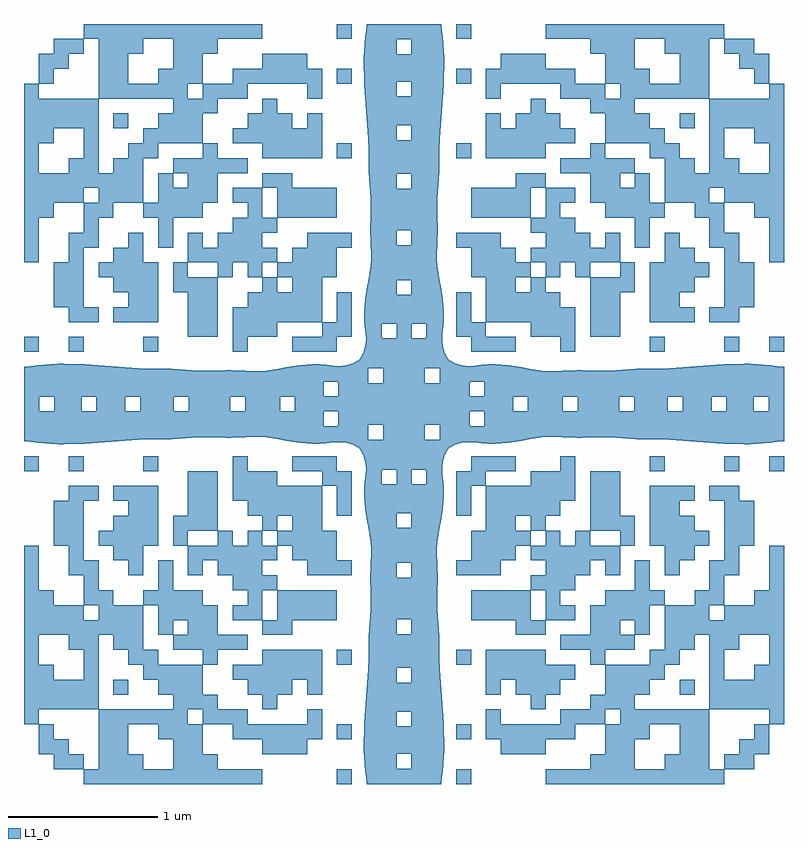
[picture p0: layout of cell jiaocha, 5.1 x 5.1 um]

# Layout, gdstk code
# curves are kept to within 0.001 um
import gdstk
lib = gdstk.Library(unit=1e-6, precision=1e-09)
def R(c, l, rs):  # rectangles x0, y0, x1, y1
    for r in rs: c.add(gdstk.rectangle(r[:2], r[2:], *l))
def P(c, l, *ps):  # polygons
    for p in ps: c.add(gdstk.Polygon(p, *l))
L1_0 = (1, 0)

jiaocha = lib.new_cell('jiaocha')
R(jiaocha, L1_0, [(0.433,-2.401,0.533,-2.301), (0.733,-2.401,1.033,-2.299), (1.233,-2.401,1.333,-2.301), (0.433,-2.101,0.533,-2.001), (1.233,-2.101,1.333,-2.001), (-1.067,-1.801,-0.967,-1.701), (2.733,-1.801,2.833,-1.701), (0.433,-1.601,0.533,-1.501), (1.233,-1.601,1.333,-1.501), (-1.667,-0.301,-1.567,-0.201), (-1.367,-0.301,-1.267,-0.201), (-0.867,-0.301,-0.767,-0.201), (2.533,-0.301,2.633,-0.201), (3.033,-0.301,3.133,-0.201), (3.333,-0.301,3.433,-0.201), (-1.667,-0.001,-1.565,0.299), (3.331,-0.001,3.433,0.299), (-1.667,0.499,-1.567,0.599), (-1.367,0.499,-1.267,0.599), (-0.867,0.499,-0.767,0.599), (2.533,0.499,2.633,0.599), (3.033,0.499,3.133,0.599), (3.333,0.499,3.433,0.599), (0.433,1.799,0.533,1.899), (1.233,1.799,1.333,1.899), (-1.067,1.999,-0.967,2.099), (2.733,1.999,2.833,2.099), (0.433,2.299,0.533,2.399), (1.233,2.299,1.333,2.399), (0.733,2.597,1.033,2.699), (0.433,2.599,0.533,2.699), (1.233,2.599,1.333,2.699)])
P(jiaocha, L1_0, [(-1.667,0.299),(-1.667,0.399),(-1.487,0.416),(-1.396,0.419),(-1.306,0.417),(-1.126,0.407),(-0.9,0.388),(-0.675,0.385),(-0.63,0.383),(-0.494,0.372),(-0.404,0.371),(-0.269,0.374),(-0.089,0.37),(-0.043,0.373),(0.002,0.379),(0.137,0.403),(0.227,0.414),(0.272,0.416),(0.317,0.415),(0.408,0.406),(0.453,0.404),(0.498,0.408),(0.543,0.423),(0.588,0.449),(0.633,0.478),(0.633,0.299)],
  [(0.633,0.149),(0.633,0.399),(0.644,0.388),(0.644,0.288),(0.744,0.288),(0.883,0.149)],
  [(0.343,-0.001),(0.343,0.001),(0.443,0.001),(0.443,0.101),(0.343,0.101),(0.343,0.201),(0.443,0.201),(0.443,0.298),(0.343,0.298),(0.343,0.299),(0.633,0.299),(0.633,-0.001)],
  [(0.051,-0.001),(0.051,0.099),(0.151,0.099),(0.151,0.199),(0.051,0.199),(0.051,0.299),(0.343,0.299),(0.343,-0.001)],
  [(-0.283,-0.001),(-0.283,0.099),(-0.183,0.099),(-0.183,0.199),(-0.283,0.199),(-0.283,0.299),(0.051,0.299),(0.051,-0.001)],
  [(-0.661,-0.001),(-0.661,0.099),(-0.561,0.099),(-0.561,0.199),(-0.661,0.199),(-0.661,0.299),(-0.283,0.299),(-0.283,-0.001)],
  [(-0.986,-0.001),(-0.986,0.099),(-0.886,0.099),(-0.886,0.199),(-0.986,0.199),(-0.986,0.299),(-0.661,0.299),(-0.661,-0.001)],
  [(-1.281,-0.001),(-1.281,0.099),(-1.181,0.099),(-1.181,0.199),(-1.281,0.199),(-1.281,0.299),(-0.986,0.299),(-0.986,-0.001)],
  [(-1.565,-0.001),(-1.565,0.099),(-1.465,0.099),(-1.465,0.199),(-1.565,0.199),(-1.565,0.299),(-1.281,0.299),(-1.281,-0.001)],
  [(0.633,-0.101),(0.633,0.149),(0.883,0.149),(0.744,0.01),(0.644,0.01),(0.644,-0.09)],
  [(0.633,-0.18),(0.588,-0.151),(0.543,-0.125),(0.498,-0.11),(0.453,-0.106),(0.408,-0.108),(0.317,-0.117),(0.272,-0.118),(0.227,-0.116),(0.137,-0.105),(0.002,-0.081),(-0.043,-0.075),(-0.089,-0.072),(-0.269,-0.076),(-0.404,-0.073),(-0.494,-0.074),(-0.63,-0.085),(-0.675,-0.087),(-0.9,-0.09),(-1.126,-0.109),(-1.306,-0.119),(-1.396,-0.121),(-1.487,-0.118),(-1.667,-0.101),(-1.667,-0.001),(0.633,-0.001)],
  [(0.883,0.149),(1.022,0.288),(1.122,0.288),(1.122,0.388),(1.133,0.399),(1.133,0.149)],
  [(1.133,-0.001),(1.133,0.299),(1.423,0.299),(1.423,0.298),(1.323,0.298),(1.323,0.201),(1.423,0.201),(1.423,0.101),(1.323,0.101),(1.323,0.001),(1.423,0.001),(1.423,-0.001)],
  [(1.423,-0.001),(1.423,0.299),(1.715,0.299),(1.715,0.199),(1.615,0.199),(1.615,0.099),(1.715,0.099),(1.715,-0.001)],
  [(1.715,-0.001),(1.715,0.299),(2.049,0.299),(2.049,0.199),(1.949,0.199),(1.949,0.099),(2.049,0.099),(2.049,-0.001)],
  [(2.049,-0.001),(2.049,0.299),(2.427,0.299),(2.427,0.199),(2.327,0.199),(2.327,0.099),(2.427,0.099),(2.427,-0.001)],
  [(2.427,-0.001),(2.427,0.299),(2.752,0.299),(2.752,0.199),(2.652,0.199),(2.652,0.099),(2.752,0.099),(2.752,-0.001)],
  [(2.752,-0.001),(2.752,0.299),(3.047,0.299),(3.047,0.199),(2.947,0.199),(2.947,0.099),(3.047,0.099),(3.047,-0.001)],
  [(3.047,-0.001),(3.047,0.299),(3.331,0.299),(3.331,0.199),(3.231,0.199),(3.231,0.099),(3.331,0.099),(3.331,-0.001)],
  [(1.133,-0.101),(1.122,-0.09),(1.122,0.01),(1.022,0.01),(0.883,0.149),(1.133,0.149)],
  [(1.133,-0.18),(1.133,-0.001),(3.433,-0.001),(3.433,-0.101),(3.253,-0.118),(3.162,-0.121),(3.072,-0.119),(2.892,-0.109),(2.666,-0.09),(2.441,-0.087),(2.396,-0.085),(2.26,-0.074),(2.17,-0.073),(2.035,-0.076),(1.855,-0.072),(1.809,-0.075),(1.764,-0.081),(1.629,-0.105),(1.539,-0.116),(1.494,-0.118),(1.449,-0.117),(1.358,-0.108),(1.313,-0.106),(1.268,-0.11),(1.223,-0.125),(1.178,-0.151)],
  [(1.033,0.399),(1.033,2.699),(1.133,2.699),(1.15,2.519),(1.153,2.428),(1.151,2.338),(1.144,2.203),(1.122,1.932),(1.119,1.707),(1.117,1.662),(1.106,1.526),(1.105,1.436),(1.108,1.301),(1.104,1.121),(1.107,1.075),(1.113,1.03),(1.137,0.895),(1.148,0.805),(1.15,0.76),(1.149,0.715),(1.14,0.624),(1.138,0.579),(1.142,0.534),(1.157,0.489),(1.183,0.444),(1.212,0.399)],
  [(0.883,0.149),(0.883,0.399),(1.133,0.399),(1.122,0.388),(1.022,0.388),(1.022,0.288)],
  [(0.733,0.399),(0.733,0.689),(0.735,0.689),(0.735,0.589),(0.835,0.589),(0.835,0.689),(0.935,0.689),(0.935,0.589),(1.032,0.589),(1.032,0.689),(1.033,0.689),(1.033,0.399)],
  [(0.733,0.689),(0.733,0.981),(0.833,0.981),(0.833,0.881),(0.933,0.881),(0.933,0.981),(1.033,0.981),(1.033,0.689)],
  [(0.733,0.981),(0.733,1.315),(0.833,1.315),(0.833,1.215),(0.933,1.215),(0.933,1.315),(1.033,1.315),(1.033,0.981)],
  [(0.733,1.315),(0.733,1.693),(0.833,1.693),(0.833,1.593),(0.933,1.593),(0.933,1.693),(1.033,1.693),(1.033,1.315)],
  [(0.733,1.693),(0.733,2.018),(0.833,2.018),(0.833,1.918),(0.933,1.918),(0.933,2.018),(1.033,2.018),(1.033,1.693)],
  [(0.733,2.018),(0.733,2.313),(0.833,2.313),(0.833,2.213),(0.933,2.213),(0.933,2.313),(1.033,2.313),(1.033,2.018)],
  [(0.733,2.313),(0.733,2.597),(0.833,2.597),(0.833,2.497),(0.933,2.497),(0.933,2.597),(1.033,2.597),(1.033,2.313)],
  [(0.883,0.149),(0.744,0.288),(0.744,0.388),(0.644,0.388),(0.633,0.399),(0.883,0.399)],
  [(0.554,0.399),(0.583,0.444),(0.609,0.489),(0.624,0.534),(0.628,0.579),(0.626,0.624),(0.617,0.715),(0.616,0.76),(0.618,0.805),(0.629,0.895),(0.653,1.03),(0.659,1.075),(0.662,1.121),(0.658,1.301),(0.661,1.436),(0.66,1.526),(0.649,1.662),(0.647,1.707),(0.644,1.932),(0.625,2.158),(0.615,2.338),(0.613,2.428),(0.616,2.519),(0.633,2.699),(0.733,2.699),(0.733,0.399)],
  [(1.033,-2.401),(1.033,-0.101),(1.212,-0.101),(1.183,-0.146),(1.157,-0.191),(1.142,-0.236),(1.138,-0.281),(1.14,-0.326),(1.149,-0.417),(1.15,-0.462),(1.148,-0.507),(1.137,-0.597),(1.113,-0.732),(1.107,-0.777),(1.104,-0.823),(1.108,-1.003),(1.105,-1.138),(1.106,-1.228),(1.117,-1.364),(1.119,-1.409),(1.122,-1.634),(1.141,-1.86),(1.151,-2.04),(1.153,-2.13),(1.15,-2.221),(1.133,-2.401)],
  [(0.883,-0.101),(0.883,0.149),(1.022,0.01),(1.022,-0.09),(1.122,-0.09),(1.133,-0.101)],
  [(0.733,-0.391),(0.733,-0.101),(1.033,-0.101),(1.033,-0.391),(1.032,-0.391),(1.032,-0.291),(0.935,-0.291),(0.935,-0.391),(0.835,-0.391),(0.835,-0.291),(0.735,-0.291),(0.735,-0.391)],
  [(0.733,-0.683),(0.733,-0.391),(1.033,-0.391),(1.033,-0.683),(0.933,-0.683),(0.933,-0.583),(0.833,-0.583),(0.833,-0.683)],
  [(0.733,-1.017),(0.733,-0.683),(1.033,-0.683),(1.033,-1.017),(0.933,-1.017),(0.933,-0.917),(0.833,-0.917),(0.833,-1.017)],
  [(0.733,-1.395),(0.733,-1.017),(1.033,-1.017),(1.033,-1.395),(0.933,-1.395),(0.933,-1.295),(0.833,-1.295),(0.833,-1.395)],
  [(0.733,-1.72),(0.733,-1.395),(1.033,-1.395),(1.033,-1.72),(0.933,-1.72),(0.933,-1.62),(0.833,-1.62),(0.833,-1.72)],
  [(0.733,-2.015),(0.733,-1.72),(1.033,-1.72),(1.033,-2.015),(0.933,-2.015),(0.933,-1.915),(0.833,-1.915),(0.833,-2.015)],
  [(0.733,-2.299),(0.733,-2.015),(1.033,-2.015),(1.033,-2.299),(0.933,-2.299),(0.933,-2.199),(0.833,-2.199),(0.833,-2.299)],
  [(0.633,-0.101),(0.644,-0.09),(0.744,-0.09),(0.744,0.01),(0.883,0.149),(0.883,-0.101)],
  [(0.633,-2.401),(0.616,-2.221),(0.613,-2.13),(0.615,-2.04),(0.622,-1.905),(0.644,-1.634),(0.647,-1.409),(0.649,-1.364),(0.66,-1.228),(0.661,-1.138),(0.658,-1.003),(0.662,-0.823),(0.659,-0.777),(0.653,-0.732),(0.629,-0.597),(0.618,-0.507),(0.616,-0.462),(0.617,-0.417),(0.626,-0.326),(0.628,-0.281),(0.624,-0.236),(0.609,-0.191),(0.583,-0.146),(0.554,-0.101),(0.733,-0.101),(0.733,-2.401)],
  [(1.133,0.299),(1.133,0.478),(1.178,0.449),(1.223,0.423),(1.268,0.408),(1.313,0.404),(1.358,0.406),(1.449,0.415),(1.494,0.416),(1.539,0.414),(1.629,0.403),(1.764,0.379),(1.809,0.373),(1.855,0.37),(2.035,0.374),(2.17,0.371),(2.26,0.372),(2.396,0.383),(2.441,0.385),(2.666,0.388),(2.937,0.41),(3.072,0.417),(3.162,0.419),(3.253,0.416),(3.433,0.399),(3.433,0.299)],
  [(-1.467,-2.301),(-1.467,-2.201),(-1.567,-2.201),(-1.567,-2.001),(-1.467,-2.001),(-1.467,-2.101),(-1.367,-2.101),(-1.367,-2.201),(-1.267,-2.201),(-1.267,-2.301)],
  [(3.033,-2.301),(3.033,-2.201),(3.133,-2.201),(3.133,-2.101),(3.233,-2.101),(3.233,-2.001),(3.333,-2.001),(3.333,-2.201),(3.233,-2.201),(3.233,-2.301)],
  [(-0.067,-1.901),(-0.067,-1.801),(-0.167,-1.801),(-0.167,-1.701),(-0.267,-1.701),(-0.267,-1.601),(-0.067,-1.601),(-0.067,-1.501),(0.333,-1.501),(0.333,-1.801),(0.233,-1.801),(0.233,-1.701),(0.133,-1.701),(0.133,-1.801),(0.033,-1.801),(0.033,-1.901)],
  [(1.733,-1.901),(1.733,-1.801),(1.633,-1.801),(1.633,-1.701),(1.533,-1.701),(1.533,-1.801),(1.433,-1.801),(1.433,-1.501),(1.833,-1.501),(1.833,-1.601),(2.033,-1.601),(2.033,-1.701),(1.933,-1.701),(1.933,-1.801),(1.833,-1.801),(1.833,-1.901)],
  [(-0.067,-1.401),(-0.067,-1.301),(0.033,-1.301),(0.033,-1.101),(0.433,-1.101),(0.433,-1.301),(0.133,-1.301),(0.133,-1.401)],
  [(1.633,-1.401),(1.633,-1.301),(1.333,-1.301),(1.333,-1.101),(1.733,-1.101),(1.733,-1.301),(1.833,-1.301),(1.833,-1.401)],
  [(-0.467,-1.601),(-0.467,-1.501),(-0.667,-1.501),(-0.667,-1.401),(-0.567,-1.401),(-0.567,-1.301),(-0.667,-1.301),(-0.667,-1.401),(-0.767,-1.401),(-0.767,-1.201),(-0.867,-1.201),(-0.867,-1.101),(-0.767,-1.101),(-0.767,-0.901),(-0.667,-0.901),(-0.667,-1.101),(-0.467,-1.101),(-0.467,-1.201),(-0.367,-1.201),(-0.367,-1.401),(-0.167,-1.401),(-0.167,-1.501),(-0.367,-1.501),(-0.367,-1.601)],
  [(2.133,-1.601),(2.133,-1.501),(1.933,-1.501),(1.933,-1.401),(2.133,-1.401),(2.133,-1.201),(2.233,-1.201),(2.233,-1.101),(2.433,-1.101),(2.433,-0.901),(2.533,-0.901),(2.533,-1.101),(2.633,-1.101),(2.633,-1.201),(2.533,-1.201),(2.533,-1.401),(2.433,-1.401),(2.433,-1.301),(2.333,-1.301),(2.333,-1.401),(2.433,-1.401),(2.433,-1.501),(2.233,-1.501),(2.233,-1.601)],
  [(-0.267,-1.301),(-0.267,-1.201),(-0.167,-1.201),(-0.167,-1.101),(-0.267,-1.101),(-0.267,-1.001),(-0.367,-1.001),(-0.367,-0.901),(-0.467,-0.901),(-0.467,-1.001),(-0.567,-1.001),(-0.567,-0.801),(-0.367,-0.801),(-0.367,-0.701),(-0.267,-0.701),(-0.267,-0.801),(-0.167,-0.801),(-0.167,-0.701),(-0.067,-0.701),(-0.067,-0.801),(0.033,-0.801),(0.033,-0.901),(-0.067,-0.901),(-0.067,-1.001),(0.033,-1.001),(0.033,-1.101),(-0.067,-1.101),(-0.067,-1.301)],
  [(1.833,-1.301),(1.833,-1.101),(1.733,-1.101),(1.733,-1.001),(1.833,-1.001),(1.833,-0.901),(1.733,-0.901),(1.733,-0.801),(1.833,-0.801),(1.833,-0.701),(1.933,-0.701),(1.933,-0.801),(2.033,-0.801),(2.033,-0.701),(2.133,-0.701),(2.133,-0.801),(2.333,-0.801),(2.333,-1.001),(2.233,-1.001),(2.233,-0.901),(2.133,-0.901),(2.133,-1.001),(2.033,-1.001),(2.033,-1.101),(1.933,-1.101),(1.933,-1.201),(2.033,-1.201),(2.033,-1.301)],
  [(-1.267,-2.401),(-1.267,-2.301),(-1.167,-2.301),(-1.167,-1.901),(-0.967,-1.901),(-0.967,-2.201),(-0.867,-2.201),(-0.867,-2.301),(-0.667,-2.301),(-0.667,-2.101),(-0.767,-2.101),(-0.767,-2.001),(-0.967,-2.001),(-0.967,-1.901),(-0.667,-1.901),(-0.667,-1.801),(-0.767,-1.801),(-0.767,-1.701),(-0.867,-1.701),(-0.867,-1.601),(-0.967,-1.601),(-0.967,-1.501),(-1.067,-1.501),(-1.067,-1.401),(-1.167,-1.401),(-1.167,-1.901),(-1.567,-1.901),(-1.567,-2.001),(-1.667,-2.001),(-1.667,-0.801),(-1.567,-0.801),(-1.567,-1.601),(-1.467,-1.601),(-1.467,-1.701),(-1.267,-1.701),(-1.267,-1.501),(-1.367,-1.501),(-1.367,-1.401),(-1.567,-1.401),(-1.567,-1.101),(-1.467,-1.101),(-1.467,-1.201),(-1.267,-1.201),(-1.267,-1.301),(-1.167,-1.301),(-1.167,-1.201),(-1.267,-1.201),(-1.267,-1.001),(-1.367,-1.001),(-1.367,-0.801),(-1.467,-0.801),(-1.467,-0.501),(-1.367,-0.501),(-1.367,-0.401),(-1.167,-0.401),(-1.167,-0.501),(-1.267,-0.501),(-1.267,-0.901),(-1.167,-0.901),(-1.167,-1.101),(-1.067,-1.101),(-1.067,-1.201),(-0.867,-1.201),(-0.867,-1.501),(-0.767,-1.501),(-0.767,-1.601),(-0.467,-1.601),(-0.467,-1.801),(-0.367,-1.801),(-0.367,-1.901),(-0.167,-1.901),(-0.167,-2.001),(0.233,-2.001),(0.233,-1.901),(0.333,-1.901),(0.333,-2.101),(0.233,-2.101),(0.233,-2.201),(-0.067,-2.201),(-0.067,-2.101),(-0.267,-2.101),(-0.267,-2.001),(-0.467,-2.001),(-0.467,-1.901),(-0.567,-1.901),(-0.567,-2.001),(-0.467,-2.001),(-0.467,-2.201),(-0.367,-2.201),(-0.367,-2.301),(-0.067,-2.301),(-0.067,-2.401)],
  [(-0.967,-1.001),(-0.967,-0.901),(-1.067,-0.901),(-1.067,-0.801),(-1.167,-0.801),(-1.167,-0.701),(-1.067,-0.701),(-1.067,-0.601),(-0.967,-0.601),(-0.967,-0.501),(-1.067,-0.501),(-1.067,-0.401),(-0.767,-0.401),(-0.767,-0.801),(-0.867,-0.801),(-0.867,-1.001)],
  [(2.633,-1.001),(2.633,-0.801),(2.533,-0.801),(2.533,-0.401),(2.833,-0.401),(2.833,-0.501),(2.733,-0.501),(2.733,-0.601),(2.833,-0.601),(2.833,-0.701),(2.933,-0.701),(2.933,-0.801),(2.833,-0.801),(2.833,-0.901),(2.733,-0.901),(2.733,-1.001)],
  [(1.833,-2.401),(1.833,-2.301),(2.133,-2.301),(2.133,-2.201),(2.233,-2.201),(2.233,-2.001),(2.333,-2.001),(2.333,-1.901),(2.233,-1.901),(2.233,-2.001),(2.033,-2.001),(2.033,-2.101),(1.833,-2.101),(1.833,-2.201),(1.533,-2.201),(1.533,-2.101),(1.433,-2.101),(1.433,-1.901),(1.533,-1.901),(1.533,-2.001),(1.933,-2.001),(1.933,-1.901),(2.133,-1.901),(2.133,-1.801),(2.233,-1.801),(2.233,-1.601),(2.533,-1.601),(2.533,-1.501),(2.633,-1.501),(2.633,-1.201),(2.833,-1.201),(2.833,-1.101),(2.933,-1.101),(2.933,-0.901),(3.033,-0.901),(3.033,-0.501),(2.933,-0.501),(2.933,-0.401),(3.133,-0.401),(3.133,-0.501),(3.233,-0.501),(3.233,-0.801),(3.133,-0.801),(3.133,-1.001),(3.033,-1.001),(3.033,-1.201),(2.933,-1.201),(2.933,-1.301),(3.033,-1.301),(3.033,-1.201),(3.133,-1.201),(3.133,-1.501),(3.033,-1.501),(3.033,-1.701),(3.233,-1.701),(3.233,-1.601),(3.333,-1.601),(3.333,-1.401),(3.133,-1.401),(3.133,-1.201),(3.233,-1.201),(3.233,-1.101),(3.333,-1.101),(3.333,-0.801),(3.433,-0.801),(3.433,-2.001),(3.333,-2.001),(3.333,-1.901),(2.933,-1.901),(2.933,-1.401),(2.833,-1.401),(2.833,-1.501),(2.733,-1.501),(2.733,-1.601),(2.633,-1.601),(2.633,-1.701),(2.533,-1.701),(2.533,-1.801),(2.433,-1.801),(2.433,-1.901),(2.533,-1.901),(2.533,-2.101),(2.433,-2.101),(2.433,-2.301),(2.633,-2.301),(2.633,-2.201),(2.733,-2.201),(2.733,-2.001),(2.533,-2.001),(2.533,-1.901),(2.933,-1.901),(2.933,-2.301),(3.033,-2.301),(3.033,-2.401)],
  [(-0.667,-0.801),(-0.667,-0.601),(-0.567,-0.601),(-0.567,-0.301),(-0.367,-0.301),(-0.367,-0.701),(-0.567,-0.701),(-0.567,-0.801)],
  [(2.333,-0.801),(2.333,-0.701),(2.133,-0.701),(2.133,-0.301),(2.333,-0.301),(2.333,-0.601),(2.433,-0.601),(2.433,-0.801)],
  [(0.233,-1.001),(0.233,-0.901),(0.133,-0.901),(0.133,-0.801),(0.033,-0.801),(0.033,-0.701),(0.133,-0.701),(0.133,-0.601),(0.033,-0.601),(0.033,-0.701),(-0.067,-0.701),(-0.067,-0.601),(-0.167,-0.601),(-0.167,-0.501),(-0.267,-0.501),(-0.267,-0.201),(-0.167,-0.201),(-0.167,-0.301),(0.033,-0.301),(0.033,-0.401),(0.333,-0.401),(0.333,-0.701),(0.433,-0.701),(0.433,-0.901),(0.533,-0.901),(0.533,-1.001)],
  [(0.433,-0.601),(0.433,-0.401),(0.333,-0.401),(0.333,-0.301),(0.133,-0.301),(0.133,-0.201),(0.433,-0.201),(0.433,-0.301),(0.533,-0.301),(0.533,-0.601)],
  [(1.233,-0.601),(1.233,-0.301),(1.333,-0.301),(1.333,-0.201),(1.633,-0.201),(1.633,-0.301),(1.433,-0.301),(1.433,-0.401),(1.333,-0.401),(1.333,-0.601)],
  [(1.233,-1.001),(1.233,-0.901),(1.333,-0.901),(1.333,-0.701),(1.433,-0.701),(1.433,-0.401),(1.733,-0.401),(1.733,-0.301),(1.933,-0.301),(1.933,-0.201),(2.033,-0.201),(2.033,-0.501),(1.933,-0.501),(1.933,-0.601),(1.833,-0.601),(1.833,-0.701),(1.733,-0.701),(1.733,-0.601),(1.633,-0.601),(1.633,-0.701),(1.733,-0.701),(1.733,-0.801),(1.633,-0.801),(1.633,-0.901),(1.533,-0.901),(1.533,-1.001)],
  [(0.133,0.499),(0.133,0.599),(0.333,0.599),(0.333,0.699),(0.433,0.699),(0.433,0.899),(0.533,0.899),(0.533,0.599),(0.433,0.599),(0.433,0.499)],
  [(1.333,0.499),(1.333,0.599),(1.233,0.599),(1.233,0.899),(1.333,0.899),(1.333,0.699),(1.433,0.699),(1.433,0.599),(1.633,0.599),(1.633,0.499)],
  [(-0.567,0.599),(-0.567,0.899),(-0.667,0.899),(-0.667,1.099),(-0.567,1.099),(-0.567,0.999),(-0.367,0.999),(-0.367,0.599)],
  [(2.133,0.599),(2.133,0.999),(2.333,0.999),(2.333,1.099),(2.433,1.099),(2.433,0.899),(2.333,0.899),(2.333,0.599)],
  [(-1.067,0.699),(-1.067,0.799),(-0.967,0.799),(-0.967,0.899),(-1.067,0.899),(-1.067,0.999),(-1.167,0.999),(-1.167,1.099),(-1.067,1.099),(-1.067,1.199),(-0.967,1.199),(-0.967,1.299),(-0.867,1.299),(-0.867,1.099),(-0.767,1.099),(-0.767,0.699)],
  [(-0.267,0.499),(-0.267,0.799),(-0.167,0.799),(-0.167,0.899),(-0.067,0.899),(-0.067,0.999),(0.033,0.999),(0.033,0.899),(0.133,0.899),(0.133,0.999),(0.033,0.999),(0.033,1.099),(0.133,1.099),(0.133,1.199),(0.233,1.199),(0.233,1.299),(0.533,1.299),(0.533,1.199),(0.433,1.199),(0.433,0.999),(0.333,0.999),(0.333,0.699),(0.033,0.699),(0.033,0.599),(-0.167,0.599),(-0.167,0.499)],
  [(1.933,0.499),(1.933,0.599),(1.733,0.599),(1.733,0.699),(1.433,0.699),(1.433,0.999),(1.333,0.999),(1.333,1.199),(1.233,1.199),(1.233,1.299),(1.533,1.299),(1.533,1.199),(1.633,1.199),(1.633,1.099),(1.733,1.099),(1.733,0.999),(1.633,0.999),(1.633,0.899),(1.733,0.899),(1.733,0.999),(1.833,0.999),(1.833,0.899),(1.933,0.899),(1.933,0.799),(2.033,0.799),(2.033,0.499)],
  [(2.533,0.699),(2.533,1.099),(2.633,1.099),(2.633,1.299),(2.733,1.299),(2.733,1.199),(2.833,1.199),(2.833,1.099),(2.933,1.099),(2.933,0.999),(2.833,0.999),(2.833,0.899),(2.733,0.899),(2.733,0.799),(2.833,0.799),(2.833,0.699)],
  [(-0.367,0.999),(-0.367,1.099),(-0.567,1.099),(-0.567,1.299),(-0.467,1.299),(-0.467,1.199),(-0.367,1.199),(-0.367,1.299),(-0.267,1.299),(-0.267,1.399),(-0.167,1.399),(-0.167,1.499),(-0.267,1.499),(-0.267,1.599),(-0.067,1.599),(-0.067,1.399),(0.033,1.399),(0.033,1.299),(-0.067,1.299),(-0.067,1.199),(0.033,1.199),(0.033,1.099),(-0.067,1.099),(-0.067,0.999),(-0.167,0.999),(-0.167,1.099),(-0.267,1.099),(-0.267,0.999)],
  [(1.833,0.999),(1.833,1.099),(1.733,1.099),(1.733,1.199),(1.833,1.199),(1.833,1.299),(1.733,1.299),(1.733,1.399),(1.833,1.399),(1.833,1.599),(2.033,1.599),(2.033,1.499),(1.933,1.499),(1.933,1.399),(2.033,1.399),(2.033,1.299),(2.133,1.299),(2.133,1.199),(2.233,1.199),(2.233,1.299),(2.333,1.299),(2.333,1.099),(2.133,1.099),(2.133,0.999),(2.033,0.999),(2.033,1.099),(1.933,1.099),(1.933,0.999)],
  [(0.033,1.399),(0.033,1.599),(-0.067,1.599),(-0.067,1.699),(0.133,1.699),(0.133,1.599),(0.433,1.599),(0.433,1.399)],
  [(1.333,1.399),(1.333,1.599),(1.633,1.599),(1.633,1.699),(1.833,1.699),(1.833,1.599),(1.733,1.599),(1.733,1.399)],
  [(-0.767,1.199),(-0.767,1.399),(-0.867,1.399),(-0.867,1.499),(-0.767,1.499),(-0.767,1.699),(-0.667,1.699),(-0.667,1.599),(-0.567,1.599),(-0.567,1.699),(-0.667,1.699),(-0.667,1.799),(-0.467,1.799),(-0.467,1.899),(-0.367,1.899),(-0.367,1.799),(-0.167,1.799),(-0.167,1.699),(-0.367,1.699),(-0.367,1.499),(-0.467,1.499),(-0.467,1.399),(-0.667,1.399),(-0.667,1.199)],
  [(2.433,1.199),(2.433,1.399),(2.233,1.399),(2.233,1.499),(2.133,1.499),(2.133,1.699),(1.933,1.699),(1.933,1.799),(2.133,1.799),(2.133,1.899),(2.233,1.899),(2.233,1.799),(2.433,1.799),(2.433,1.699),(2.333,1.699),(2.333,1.599),(2.433,1.599),(2.433,1.699),(2.533,1.699),(2.533,1.499),(2.633,1.499),(2.633,1.399),(2.533,1.399),(2.533,1.199)],
  [(-0.067,1.799),(-0.067,1.899),(-0.267,1.899),(-0.267,1.999),(-0.167,1.999),(-0.167,2.099),(-0.067,2.099),(-0.067,2.199),(0.033,2.199),(0.033,2.099),(0.133,2.099),(0.133,1.999),(0.233,1.999),(0.233,2.099),(0.333,2.099),(0.333,1.799)],
  [(1.433,1.799),(1.433,2.099),(1.533,2.099),(1.533,1.999),(1.633,1.999),(1.633,2.099),(1.733,2.099),(1.733,2.199),(1.833,2.199),(1.833,2.099),(1.933,2.099),(1.933,1.999),(2.033,1.999),(2.033,1.899),(1.833,1.899),(1.833,1.799)],
  [(-1.567,2.299),(-1.567,2.499),(-1.467,2.499),(-1.467,2.599),(-1.267,2.599),(-1.267,2.499),(-1.367,2.499),(-1.367,2.399),(-1.467,2.399),(-1.467,2.299)],
  [(3.233,2.299),(3.233,2.399),(3.133,2.399),(3.133,2.499),(3.033,2.499),(3.033,2.599),(3.233,2.599),(3.233,2.499),(3.333,2.499),(3.333,2.299)],
  [(-1.367,0.699),(-1.367,0.799),(-1.467,0.799),(-1.467,1.099),(-1.367,1.099),(-1.367,1.299),(-1.267,1.299),(-1.267,1.499),(-1.167,1.499),(-1.167,1.599),(-1.267,1.599),(-1.267,1.499),(-1.467,1.499),(-1.467,1.399),(-1.567,1.399),(-1.567,1.099),(-1.667,1.099),(-1.667,2.299),(-1.567,2.299),(-1.567,2.199),(-1.467,2.199),(-1.467,1.899),(-1.567,1.899),(-1.567,1.699),(-1.367,1.699),(-1.367,1.799),(-1.267,1.799),(-1.267,1.999),(-1.467,1.999),(-1.467,2.199),(-1.167,2.199),(-1.167,1.699),(-1.067,1.699),(-1.067,1.799),(-0.967,1.799),(-0.967,1.899),(-0.867,1.899),(-0.867,1.999),(-0.767,1.999),(-0.767,2.099),(-0.667,2.099),(-0.667,2.199),(-1.167,2.199),(-1.167,2.599),(-1.267,2.599),(-1.267,2.699),(-0.867,2.699),(-0.867,2.499),(-0.967,2.499),(-0.967,2.299),(-0.767,2.299),(-0.767,2.399),(-0.667,2.399),(-0.667,2.599),(-0.867,2.599),(-0.867,2.699),(-0.067,2.699),(-0.067,2.599),(-0.367,2.599),(-0.367,2.499),(-0.467,2.499),(-0.467,2.299),(-0.567,2.299),(-0.567,2.199),(-0.467,2.199),(-0.467,2.299),(-0.267,2.299),(-0.267,2.399),(-0.067,2.399),(-0.067,2.499),(0.233,2.499),(0.233,2.399),(0.333,2.399),(0.333,2.199),(0.233,2.199),(0.233,2.299),(-0.167,2.299),(-0.167,2.199),(-0.367,2.199),(-0.367,2.099),(-0.467,2.099),(-0.467,1.899),(-0.767,1.899),(-0.767,1.799),(-0.867,1.799),(-0.867,1.499),(-1.067,1.499),(-1.067,1.399),(-1.167,1.399),(-1.167,1.199),(-1.267,1.199),(-1.267,0.799),(-1.167,0.799),(-1.167,0.699)],
  [(2.933,0.699),(2.933,0.799),(3.033,0.799),(3.033,1.199),(2.933,1.199),(2.933,1.399),(2.833,1.399),(2.833,1.499),(2.633,1.499),(2.633,1.799),(2.533,1.799),(2.533,1.899),(2.233,1.899),(2.233,2.099),(2.133,2.099),(2.133,2.199),(1.933,2.199),(1.933,2.299),(1.533,2.299),(1.533,2.199),(1.433,2.199),(1.433,2.399),(1.533,2.399),(1.533,2.499),(1.833,2.499),(1.833,2.399),(2.033,2.399),(2.033,2.299),(2.233,2.299),(2.233,2.199),(2.333,2.199),(2.333,2.299),(2.233,2.299),(2.233,2.499),(2.133,2.499),(2.133,2.599),(1.833,2.599),(1.833,2.699),(2.433,2.699),(2.433,2.399),(2.533,2.399),(2.533,2.299),(2.733,2.299),(2.733,2.499),(2.633,2.499),(2.633,2.599),(2.433,2.599),(2.433,2.699),(3.033,2.699),(3.033,2.599),(2.933,2.599),(2.933,2.199),(2.433,2.199),(2.433,2.099),(2.533,2.099),(2.533,1.999),(2.633,1.999),(2.633,1.899),(2.733,1.899),(2.733,1.799),(2.833,1.799),(2.833,1.699),(2.933,1.699),(2.933,2.199),(3.033,2.199),(3.033,1.799),(3.133,1.799),(3.133,1.699),(3.333,1.699),(3.333,1.899),(3.233,1.899),(3.233,1.999),(3.033,1.999),(3.033,2.199),(3.333,2.199),(3.333,2.299),(3.433,2.299),(3.433,1.099),(3.333,1.099),(3.333,1.399),(3.233,1.399),(3.233,1.499),(3.033,1.499),(3.033,1.599),(2.933,1.599),(2.933,1.499),(3.033,1.499),(3.033,1.299),(3.133,1.299),(3.133,1.099),(3.233,1.099),(3.233,0.799),(3.133,0.799),(3.133,0.699)])

lib.write_gds('jiaocha.gds')
